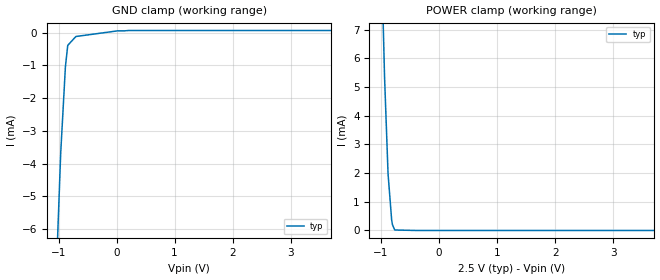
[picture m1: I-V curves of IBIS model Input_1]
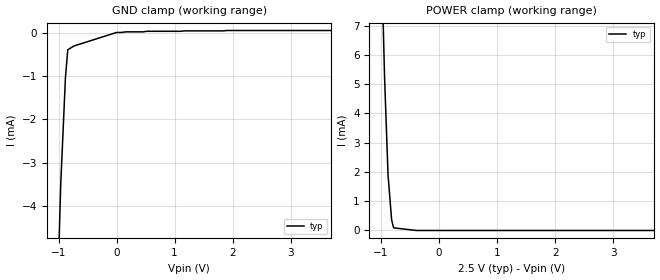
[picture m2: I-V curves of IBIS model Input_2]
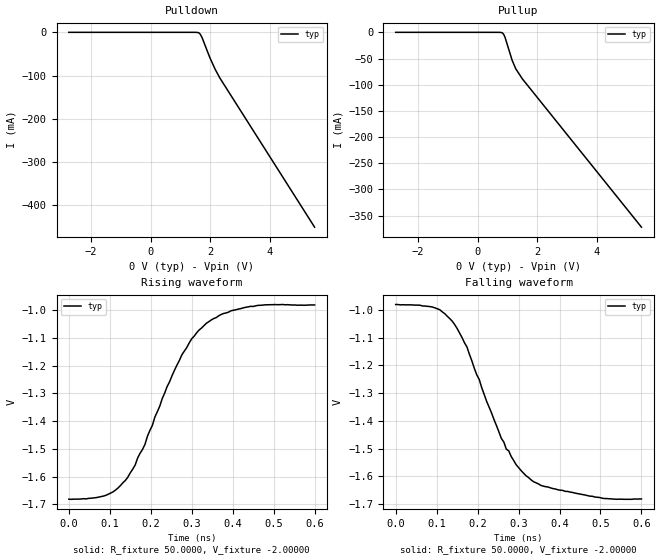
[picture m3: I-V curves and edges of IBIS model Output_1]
|COPYRIGHT(C) TERASPEED CONSULTING GROUP LLC 2003 ALL
|RIGHTS RESERVED. THIS WORK CONTAINS PROPRIETARY
|INFORMATION WHICH IS THE PROPERTY OF TERASPEED
|CONSULTING GROUP LLC OR ITS LICENSORS. USE OF THESE
|MATERIALS IS SUBJECT TO THE TERMS BELOW.
|USE: TERASPEED HAS LICENSED IBIS MODELS TO
|SPECIFIC INTEGRATED CIRCUIT SUPPLIERS ("IC VENDORS")
|FOR USE AND DISTRIBUTION AS FOLLOWS: EACH IC VENDOR
|MAY USE IBIS MODELS, AND DISTRIBUTE THEM TO IC VENDOR'S
|CUSTOMERS TO USE, SOLELY FOR DEVELOPING PRINTED
|CIRCUIT BOARD DESIGNS. NO OTHER USE OR DISTRIBUTION
|OF THESE MATERIALS IS PERMITTED.
|DISCLAIMER OF WARRANTY:  UNLESS OTHERWISE AGREED
|IN WRITING, TERASPEED SOFTWARE AND ASSOCIATED
|FILES ARE PROVIDED "AS IS" AND WITHOUT WARRANTY.
|TERASPEED HAS NO OBLIGATION TO SUPPORT OR
|OTHERWISE MAINTAIN SOFTWARE.  TERASPEED MAKES
|NO WARRANTIES, EXPRESS OR IMPLIED WITH RESPECT TO
|SOFTWARE INCLUDING ANY WARRANTY OF MERCHANTABILITY
|OR FITNESS FOR A PARTICULAR PURPOSE.
|LIMITATION OF LIABILITY:  TERASPEED IS NOT LIABLE FOR
|ANY PROPERTY DAMAGE, PERSONAL INJURY, LOSS OF PROFITS,
|INTERRUPTION OF BUSINESS, OR FOR ANY OTHER SPECIAL,
|CONSEQUENTIAL OR INCIDENTAL DAMAGES, HOWEVER CAUSED,
|WHETHER FOR BREACH OF WARRANTY, CONTRACT, TORT
|(INCLUDING NEGLIGENCE), STRICT LIABILITY OR OTHERWISE. IN NO
|EVENT SHALL TERASPEED'S LIABILITY EXCEED THE AMOUNT
|PAID FOR THE PRODUCT GIVING RISE TO THE CLAIM.
|TRADEMARKS:  THE FOLLOWING ARE REGISTERED TRADEMARKS
|OR SERVICE MARKS OF TERASPEED CONSULTING GROUP LLC:
|THE FOLLOWING ARE TRADEMARKS OR SERVICE MARKS OF
|TERASPEED CONSULTING GROUP LLC:
|ALL OTHER BRANDS AND PRODUCT NAMES ARE TRADEMARKS OF
|THEIR RESPECTIVE OWNERS
|COPIES:  ALL COPIES OF SOFTWARE, INCLUDING BUT NOT LIMITED
|TO ANY MODIFICATIONS, ENHANCEMENTS OR DERIVATIVE WORKS
|MUST CONTAIN ALL TERASPEED'S NOTICES AND LEGENDS,
|INCLUDING THOSE EMBEDDED IN SOFTWARE AND THOSE AFFIXED
|TO THE SOFTWARE MEDIUM AND CONTAINER, AS RECEIVED FROM
|TERASPEED.
[IBIS Ver] 3.2
[File Name] nb100lvep91mn_25v.ibs
[File Rev] 4.0
[Source] Measured and created by Teraspeed Consulting Group LLC
[Date]   8/11/2003
[Notes]  Quality Check of this IBIS model: Model Passes IBIS Check. Model
   parses into ICX IS.
   1. Package model data for LC gained by using TDA Systems Software.
   2. MN suffix added to name indicating 24 ld QFN
[Copyright]
|COPYRIGHT(C) TERASPEED CONSULTING GROUP LLC 2003 ALL
|RIGHTS RESERVED. THIS WORK CONTAINS PROPRIETARY
|INFORMATION WHICH IS THE PROPERTY OF TERASPEED
|CONSULTING GROUP LLC OR ITS LICENSORS. USE OF THESE
|MATERIALS IS SUBJECT TO THE TERMS BELOW.
|USE: TERASPEED HAS LICENSED IBIS MODELS TO
|SPECIFIC INTEGRATED CIRCUIT SUPPLIERS ("IC VENDORS")
|FOR USE AND DISTRIBUTION AS FOLLOWS: EACH IC VENDOR
|MAY USE IBIS MODELS, AND DISTRIBUTE THEM TO IC VENDOR'S
|CUSTOMERS TO USE, SOLELY FOR DEVELOPING PRINTED
|CIRCUIT BOARD DESIGNS. NO OTHER USE OR DISTRIBUTION
|OF THESE MATERIALS IS PERMITTED.
|  Teraspeed Spectrum Model Builder
[Component] NB100LVEP91MN_2.5V
[Manufacturer] OnSemiConductor
[Package]
| variable   typ   min   max
R_pkg  0.010ohms   0.010ohms   0.010ohms
L_pkg  0.90nH   0.90nH   0.90nH
C_pkg  0.160pF   0.160pF   0.160pF
[Pin] signal_name  model_name  R_pin  L_pin C_pin
1   _Q0   Output_1   0.010ohms   0.90nH   0.160pF
2   Q0   Output_1   0.010ohms   0.90nH   0.160pF
3   VCC   POWER   0.010ohms   0.90nH   0.160pF
4   VCC   POWER   0.010ohms   0.90nH   0.160pF
5   D0   Input_1   0.010ohms   0.90nH   0.160pF
6   _D0   Input_2   0.010ohms   0.90nH   0.160pF
7   VBB   POWER   0.010ohms   0.90nH   0.160pF
8   D1   Input_1   0.010ohms   0.90nH   0.160pF
9   _D1   Input_2   0.010ohms   0.90nH   0.160pF
10  NC   NC   0.010ohms   0.90nH   0.160pF
11  VBB   POWER   0.010ohms   0.90nH   0.160pF
12  VCC   POWER   0.010ohms   0.90nH   0.160pF
13  D2   Input_1   0.010ohms   0.90nH   0.160pF
14  _D2   Input_2   0.010ohms   0.90nH   0.160pF
15  VEE   POWER   0.010ohms   0.90nH   0.160pF
16  VEE   POWER   0.010ohms   0.90nH   0.160pF
17  _Q2   Output_1   0.010ohms   0.90nH   0.160pF
18  Q2   Output_1   0.010ohms   0.90nH   0.160pF
19  GND   GND   0.010ohms   0.90nH   0.160pF
20  GND   GND   0.010ohms   0.90nH   0.160pF
21  _Q1   Output_1   0.010ohms   0.90nH   0.160pF
22  Q1   Output_1   0.010ohms   0.90nH   0.160pF
23  GND   GND   0.010ohms   0.90nH   0.160pF
24  GND   GND   0.010ohms   0.90nH   0.160pF
[Diff Pin] inv_pin vdiff tdelay_typ tdelay_min tdelay_max
2  1   NA   NA  NA  NA
5  6   200mV  NA  NA  NA
8  9   200mV  NA  NA  NA
13 12  200mV  NA  NA  NA
18 17  NA   NA  NA  NA
22 21  NA   NA  NA  NA
| Models and submodels in the file (3): Input_1 (Input_ECL), Input_2 (Input), Output_1 (Output_ECL)
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[Model] Input_1
Model_type Input_ECL
Vinl = 875.000mV
Vinh = 1.275000V
C_comp 2.00000pF   NA  NA
| variable typ   min   max
[Voltage Range]   2.50000V  NA  NA
[POWER Clamp Reference]  2.50000V  NA  NA
[GND Clamp Reference]   0.00000V  NA  NA
[Temperature Range] 25  NA  NA
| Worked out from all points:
|   GND clamp passes 1 mA (typ) near -0.88 V on its own axis
|   POWER clamp passes 1 mA (typ) near -0.84 V on its own axis
[GND Clamp]
-2.5V     -94.47mA   NA         NA
-1.063V   -8.539mA   NA         NA
-982.2mV  -4.647mA   NA         NA
-962mV    -3.671mA   NA         NA
-881mV    -1.042mA   NA         NA
-840.7mV  -391uA     NA         NA
-700.5mV  -120.9uA   NA         NA
21mV      52.14uA    NA         NA
202.9mV   62.23uA    NA         NA
5V        62.23uA    NA         NA
[POWER Clamp]
-2.5V     129.6mA    NA         NA
-1.04V    13.42mA    NA         NA
-939mV    5.362mA    NA         NA
-878.6mV  1.979mA    NA         NA
-817.2mV  378.8uA    NA         NA
-803mV    203.1uA    NA         NA
-762.8mV  16.41uA    NA         NA
5V        0A         NA         NA
[Model] Input_2
Model_type Input
Vinl = 875.000mV
Vinh = 1.275000V
C_comp 2.00000pF NA   NA
| variable typ   min   max
[Voltage Range]   2.50000V   NA   NA
[POWER Clamp Reference] 2.50000V   NA   NA
[GND Clamp Reference]   0.00000V   NA   NA
[Temperature Range] 25   NA  NA
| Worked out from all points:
|   GND clamp passes 1 mA (typ) near -0.88 V on its own axis
|   POWER clamp passes 1 mA (typ) near -0.84 V on its own axis
[GND Clamp]
-2.5V     -91.4mA    NA         NA
-1.063V   -8.219mA   NA         NA
-962mV    -3.517mA   NA         NA
-881mV    -1.05mA    NA         NA
-840.7mV  -395.4uA   NA         NA
-735.6mV  -308.3uA   NA         NA
81.58uV   4.656uA    NA         NA
162.3mV   18.89uA    NA         NA
1.902V    50.22uA    NA         NA
5V        50.22uA    NA         NA
[POWER Clamp]
-2.5V     127.2mA    NA         NA
-1.04V    13.17mA    NA         NA
-939mV    5.258mA    NA         NA
-878.6mV  1.9mA      NA         NA
-817.2mV  363.9uA    NA         NA
-782.7mV  90.25uA    NA         NA
-391.4mV  0A         NA         NA
5V        0A         NA         NA
[Model] Output_1
Model_type Output_ECL
Vref=-2.0000V
Rref=50.0000ohms
Cref=2.00000pF
Vmeas=-1.30000V
C_comp 0.50000pF  NA  NA
| variable typ   min   max
[Voltage Range]   -2.50000V   NA   NA
[POWER Clamp Reference]  0.00000V   NA   NA
[Pullup Reference]   0.00000V   NA   NA
[Pulldown Reference]   0.00000V   NA   NA
[GND Clamp Reference]   -2.50000V   NA   NA
[Temperature Range] 25   NA  NA
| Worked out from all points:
|   falling waveform, R_fixture 50.0000, V_fixture -2.00000: 20-80 % time 119ps typ, NA min, NA max; typ from -0.981 V to -1.68 V
|   rising waveform, R_fixture 50.0000, V_fixture -2.00000: 20-80 % time 127ps typ, NA min, NA max; typ from -1.68 V to -0.981 V
[GND Clamp]
-4.5V     0A         NA         NA
0V        0A         NA         NA
3.3V      0A         NA         NA
[Pulldown]
-2.75V    40.48uA    NA         NA
1.619V    -1.32mA    NA         NA
1.659V    -3.983mA   NA         NA
1.72V     -11.62mA   NA         NA
1.983V    -58.32mA   NA         NA
2.16V     -85.17mA   NA         NA
2.322V    -105.8mA   NA         NA
5.5V      -450.7mA   NA         NA
[Pullup]
-2.75V    23.82uA    NA         NA
699.3mV   8.914uA    NA         NA
840.7mV   -1.543mA   NA         NA
881mV     -4.462mA   NA         NA
921.3mV   -9.664mA   NA         NA
1.159V    -53.44mA   NA         NA
1.28V     -69.66mA   NA         NA
1.503V    -88.94mA   NA         NA
5.5V      -372.1mA   NA         NA
[POWER Clamp]
-5.25V    0A         NA         NA
-5V       0A         NA         NA
-4.75V    0A         NA         NA
3V        0A         NA         NA
[Falling Waveform]
R_fixture = 50.0000
V_fixture = -2.00000
V_fixture_min = -2.00000
V_fixture_max = -2.00000
0s        -980.8mV   NA         NA
90ps      -990.1mV   NA         NA
138ps     -1.041V    NA         NA
174ps     -1.134V    NA         NA
222ps     -1.33V     NA         NA
270ps     -1.502V    NA         NA
294ps     -1.558V    NA         NA
330ps     -1.612V    NA         NA
474ps     -1.672V    NA         NA
600ps     -1.682V    NA         NA
[Rising Waveform]
R_fixture = 50.0000
V_fixture = -2.00000
V_fixture_min = -2.00000
V_fixture_max = -2.00000
0s        -1.682V    NA         NA
90ps      -1.668V    NA         NA
138ps     -1.614V    NA         NA
186ps     -1.484V    NA         NA
240ps     -1.275V    NA         NA
276ps     -1.161V    NA         NA
300ps     -1.103V    NA         NA
336ps     -1.047V    NA         NA
444ps     -985.7mV   NA         NA
600ps     -980.8mV   NA         NA
[Ramp]
| variable typ min max
dV/dt_r 445.146m/133.942p   NA  NA
dV/dt_f 445.146m/134.937p   NA  NA
R_load = 50.0000Ohms
